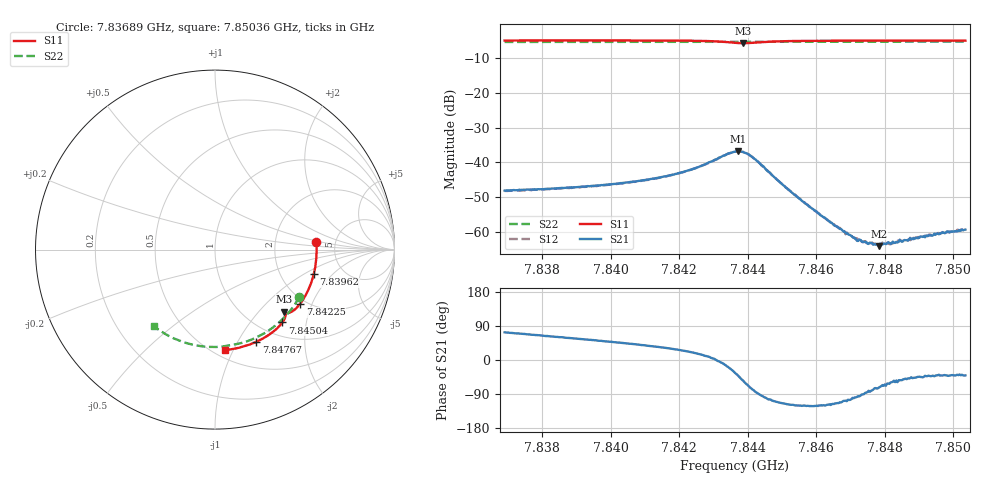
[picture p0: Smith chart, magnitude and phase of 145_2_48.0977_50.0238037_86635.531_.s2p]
#  HZ  S  RI  R  50.00
! Rohde & Schwarz Vector Network Analyzer
! Rohde-Schwarz,ZNB20-2Port,1311601062101988,3.16
! Created: UTC 12/23/2023, 3:49:11 AM
! freq[Hz]  re:S11  im:S11  re:S21  im:S21  re:S12  im:S12  re:S22  im:S22
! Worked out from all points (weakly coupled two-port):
!   401 points, 7.83689 GHz to 7.85036 GHz, reference 50 ohm
!   highest |S21| = -36.81 dB at 7.84373 GHz (marker M1); lowest = -64.0 dB at 7.84784 GHz (marker M2)
!   lowest |S11| = -5.7 dB at 7.84386 GHz (marker M3), VSWR 3.14, Z = 73.7 - j69.5 ohm
!   |S11| at or under -10 dB: nowhere
!   |S22| runs from -5.4 to -5.3 dB; largest |S21 - S12| = 0.00032
!   S11 on the Smith chart (normalised r, x): 7.83689 GHz: 3.55, +0.45; 7.83962 GHz: 3.06, -1.24; 7.84225 GHz: 1.86, -1.64; 7.84504 GHz: 1.25, -1.46; 7.84767 GHz: 0.80, -1.20; 7.85036 GHz: 0.57, -0.93
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7.836894e9  0.5644 0.0426  0.00115 0.00376  0.00118 0.0037  0.4705 -0.2639
7.83915e9  0.5568 -0.107  0.00256 0.00368  0.00254 0.00365  0.3751 -0.3891
7.839622e9  0.5498 -0.1379  0.00294 0.00362  0.00289 0.0036  0.3505 -0.4116
7.841406e9  0.5064 -0.2515  0.00499 0.00338  0.00494 0.00339  0.247 -0.4814
7.842248e9  0.4742 -0.3025  0.00706 0.00293  0.00698 0.00294  0.1931 -0.5056
7.843123e9  0.424 -0.3478  0.0113 -0.000539  0.0113 -0.0003  0.134 -0.5235
7.843629e9  0.3896 -0.3509  0.0118 -0.00795  0.0119 -0.00784  0.1004 -0.5296
7.84373e9  0.3863 -0.3481  0.0107 -0.00973  0.0106 -0.00972  0.0939 -0.5307
7.843864e9  0.3854 -0.3449  0.00824 -0.0115  0.00825 -0.0114  0.0854 -0.5323
7.844033e9  0.3888 -0.3454  0.00459 -0.0121  0.00465 -0.0121  0.0747 -0.5343
7.844268e9  0.3937 -0.3551  0.000632 -0.0105  0.000649 -0.0105  0.0594 -0.5371
7.845043e9  0.3757 -0.4059  -0.00194 -0.00426  -0.00195 -0.00429  0.00495 -0.5427
7.845885e9  0.3339 -0.4494  -0.00114 -0.00184  -0.00112 -0.00184  -0.0543 -0.5408
7.846928e9  0.2749 -0.4905  -0.00024 -0.000903  -0.000239 -0.000918  -0.1267 -0.5291
7.847164e9  0.2609 -0.4985  -0.000117 -0.000771  -0.000137 -0.000782  -0.143 -0.5254
7.8474e9  0.2467 -0.5057  -4.03e-07 -0.000718  -3.75e-06 -0.000731  -0.1588 -0.5208
7.847669e9  0.2304 -0.5136  0.000136 -0.000643  0.000145 -0.000654  -0.1766 -0.5152
7.847837e9  0.2201 -0.518  0.00019 -0.000602  0.000195 -0.000594  -0.188 -0.5114
7.84814e9  0.2011 -0.5258  0.000318 -0.000621  0.000315 -0.000592  -0.2079 -0.5037
7.84841e9  0.1844 -0.5319  0.000433 -0.000583  0.000424 -0.000582  -0.2253 -0.4964
7.849521e9  0.1128 -0.5513  0.000717 -0.00061  0.000707 -0.000638  -0.2939 -0.4598
7.850363e9  0.0574 -0.5595  0.000823 -0.000704  0.000836 -0.000709  -0.342 -0.4259
